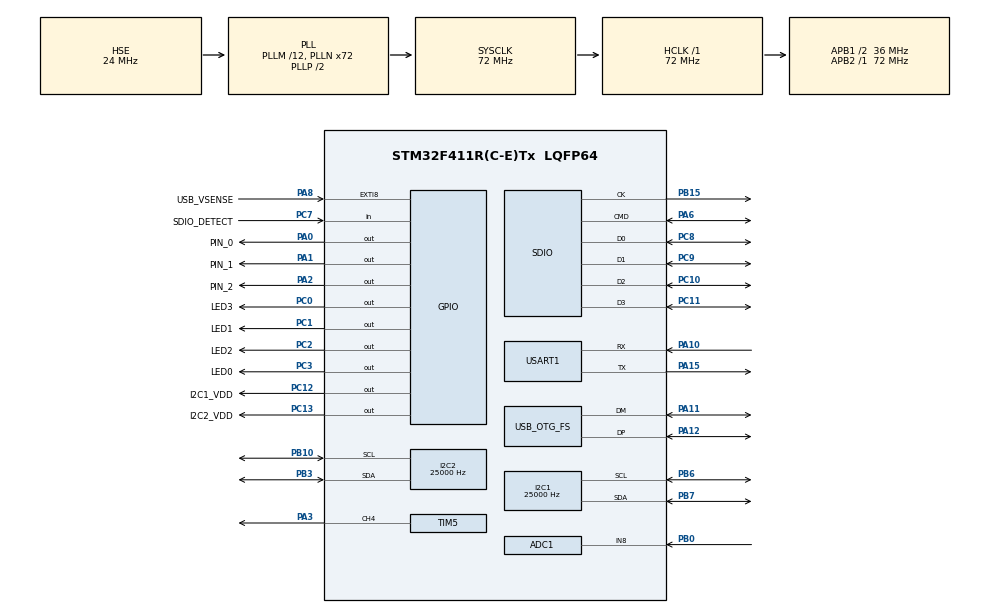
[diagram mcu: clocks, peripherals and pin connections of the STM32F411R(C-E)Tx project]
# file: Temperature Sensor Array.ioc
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ADC1.Channel-2\#ChannelRegularConversion=ADC_CHANNEL_8
ADC1.NbrOfConversionFlag=1
ADC1.Rank-2\#ChannelRegularConversion=1
ADC1.SamplingTime-2\#ChannelRegularConversion=ADC_SAMPLETIME_3CYCLES
ADC1.master=1
Dma.I2C1_TX.0.Direction=DMA_MEMORY_TO_PERIPH
Dma.I2C1_TX.0.FIFOMode=DMA_FIFOMODE_DISABLE
Dma.I2C1_TX.0.Instance=DMA1_Stream1
Dma.I2C1_TX.0.MemDataAlignment=DMA_MDATAALIGN_BYTE
Dma.I2C1_TX.0.MemInc=DMA_MINC_ENABLE
Dma.I2C1_TX.0.Mode=DMA_NORMAL
Dma.I2C1_TX.0.PeriphDataAlignment=DMA_PDATAALIGN_BYTE
Dma.I2C1_TX.0.PeriphInc=DMA_PINC_DISABLE
Dma.I2C1_TX.0.Priority=DMA_PRIORITY_MEDIUM
Dma.Request0=I2C1_TX
Dma.Request1=SDIO_RX
Dma.Request2=SDIO_TX
Dma.SDIO_RX.1.Direction=DMA_PERIPH_TO_MEMORY
Dma.SDIO_RX.1.FIFOMode=DMA_FIFOMODE_ENABLE
Dma.SDIO_RX.1.FIFOThreshold=DMA_FIFO_THRESHOLD_FULL
Dma.SDIO_RX.1.Instance=DMA2_Stream3
Dma.SDIO_RX.1.MemBurst=DMA_MBURST_INC4
Dma.SDIO_RX.1.MemDataAlignment=DMA_MDATAALIGN_WORD
Dma.SDIO_RX.1.MemInc=DMA_MINC_ENABLE
Dma.SDIO_RX.1.Mode=DMA_PFCTRL
Dma.SDIO_RX.1.PeriphBurst=DMA_PBURST_INC4
Dma.SDIO_RX.1.PeriphDataAlignment=DMA_PDATAALIGN_WORD
Dma.SDIO_RX.1.PeriphInc=DMA_PINC_DISABLE
Dma.SDIO_RX.1.Priority=DMA_PRIORITY_LOW
Dma.SDIO_TX.2.Direction=DMA_MEMORY_TO_PERIPH
Dma.SDIO_TX.2.FIFOMode=DMA_FIFOMODE_ENABLE
Dma.SDIO_TX.2.FIFOThreshold=DMA_FIFO_THRESHOLD_FULL
Dma.SDIO_TX.2.Instance=DMA2_Stream6
Dma.SDIO_TX.2.MemBurst=DMA_MBURST_INC4
Dma.SDIO_TX.2.MemDataAlignment=DMA_MDATAALIGN_WORD
Dma.SDIO_TX.2.MemInc=DMA_MINC_ENABLE
Dma.SDIO_TX.2.Mode=DMA_PFCTRL
Dma.SDIO_TX.2.PeriphBurst=DMA_PBURST_INC4
Dma.SDIO_TX.2.PeriphDataAlignment=DMA_PDATAALIGN_WORD
Dma.SDIO_TX.2.PeriphInc=DMA_PINC_DISABLE
Dma.SDIO_TX.2.Priority=DMA_PRIORITY_LOW
FATFS.BSP.number=1
FATFS.USE_DMA_CODE_SD=1
FATFS0.BSP.STBoard=false
FATFS0.BSP.api=Unknown
FATFS0.BSP.i2caddr=0
FATFS0.BSP.instance=PC7
FATFS0.BSP.ip=GPIO
FATFS0.BSP.mode=Input
FATFS0.BSP.name=Detect_SDIO
FATFS0.BSP.solution=PC7
I2C1.ClockSpeed=25000
I2C2.ClockSpeed=25000
Mcu.Family=STM32F4
Mcu.Name=STM32F411R(C-E)Tx
Mcu.Package=LQFP64
NVIC.ADC_IRQn=true\:0\:0\:false\:false\:true\:true\:true
NVIC.DMA1_Stream1_IRQn=true\:0\:0\:false\:false\:true\:false\:true
NVIC.DMA2_Stream3_IRQn=true\:0\:0\:false\:false\:true\:false\:true
NVIC.DMA2_Stream6_IRQn=true\:0\:0\:false\:false\:true\:false\:true
NVIC.EXTI9_5_IRQn=true\:0\:0\:false\:false\:true\:true\:true
NVIC.I2C1_ER_IRQn=true\:0\:0\:false\:false\:true\:true\:true
NVIC.I2C1_EV_IRQn=true\:0\:0\:false\:false\:true\:true\:true
NVIC.I2C2_ER_IRQn=true\:0\:0\:false\:false\:true\:true\:true
NVIC.I2C2_EV_IRQn=true\:0\:0\:false\:false\:true\:true\:true
NVIC.OTG_FS_IRQn=true\:0\:0\:false\:false\:true\:false\:true
NVIC.PriorityGroup=NVIC_PRIORITYGROUP_4
NVIC.SDIO_IRQn=true\:0\:0\:false\:false\:true\:true\:true
NVIC.TIM2_IRQn=true\:0\:0\:false\:false\:true\:true\:true
NVIC.TIM5_IRQn=true\:0\:0\:false\:false\:true\:true\:true
PA0-WKUP.GPIO_Label=PIN_0
PA0-WKUP.Signal=GPIO_Output
PA1.GPIO_Label=PIN_1
PA1.Signal=GPIO_Output
PA10.Mode=Asynchronous
PA10.Signal=USART1_RX
PA11.Mode=Device_Only
PA11.Signal=USB_OTG_FS_DM
PA12.Mode=Device_Only
PA12.Signal=USB_OTG_FS_DP
PA13.Mode=Serial_Wire
PA13.Signal=SYS_JTMS-SWDIO
PA14.Mode=Serial_Wire
PA14.Signal=SYS_JTCK-SWCLK
PA15.Mode=Asynchronous
PA15.Signal=USART1_TX
PA2.GPIO_Label=PIN_2
PA2.Signal=GPIO_Output
PA3.Signal=S_TIM5_CH4
PA6.Mode=SD_4_bits_Wide_bus
PA6.Signal=SDIO_CMD
PA8.GPIO_Label=USB_VSENSE
PA8.GPIO_ModeDefaultEXTI=GPIO_MODE_IT_RISING_FALLING
PA8.Signal=GPXTI8
PB0.Signal=ADCx_IN8
PB10.GPIO_Pu=GPIO_PULLUP
PB10.Mode=I2C
PB10.Signal=I2C2_SCL
PB15.Mode=SD_4_bits_Wide_bus
PB15.Signal=SDIO_CK
PB3.GPIO_Pu=GPIO_PULLUP
PB3.Mode=I2C
PB3.Signal=I2C2_SDA
PB6.GPIO_Pu=GPIO_PULLUP
PB6.Mode=I2C
PB6.Signal=I2C1_SCL
PB7.GPIO_Pu=GPIO_PULLUP
PB7.Mode=I2C
PB7.Signal=I2C1_SDA
PC0.GPIO_Label=LED3
PC0.Signal=GPIO_Output
PC1.GPIO_Label=LED1
PC1.Signal=GPIO_Output
PC10.Mode=SD_4_bits_Wide_bus
PC10.Signal=SDIO_D2
PC11.Mode=SD_4_bits_Wide_bus
PC11.Signal=SDIO_D3
PC12.GPIO_Label=I2C1_VDD
PC12.Signal=GPIO_Output
PC13-ANTI_TAMP.GPIO_Label=I2C2_VDD
PC13-ANTI_TAMP.Signal=GPIO_Output
PC14-OSC32_IN.Mode=LSE-External-Oscillator
PC14-OSC32_IN.Signal=RCC_OSC32_IN
PC15-OSC32_OUT.Mode=LSE-External-Oscillator
PC15-OSC32_OUT.Signal=RCC_OSC32_OUT
PC2.GPIO_Label=LED2
PC2.Signal=GPIO_Output
PC3.GPIO_Label=LED0
PC3.Signal=GPIO_Output
PC7.GPIO_Label=SDIO_DETECT
PC7.Signal=GPIO_Input
PC8.Mode=SD_4_bits_Wide_bus
PC8.Signal=SDIO_D0
PC9.Mode=SD_4_bits_Wide_bus
PC9.Signal=SDIO_D1
PH0\ -\ OSC_IN.Mode=HSE-External-Oscillator
PH0\ -\ OSC_IN.Signal=RCC_OSC_IN
PH1\ -\ OSC_OUT.Mode=HSE-External-Oscillator
PH1\ -\ OSC_OUT.Signal=RCC_OSC_OUT
ProjectManager.HeapSize=0x1000
ProjectManager.StackSize=0x800
ProjectManager.TargetToolchain=STM32CubeIDE
RCC.48MHZClocksFreq_Value=48000000
RCC.AHBFreq_Value=72000000
RCC.APB1CLKDivider=RCC_HCLK_DIV2
RCC.APB1Freq_Value=36000000
RCC.APB1TimFreq_Value=72000000
RCC.APB2Freq_Value=72000000
RCC.APB2TimFreq_Value=72000000
RCC.CortexFreq_Value=72000000
RCC.EnbaleCSS=true
RCC.HCLKFreq_Value=72000000
RCC.HSE_VALUE=24000000
RCC.HSI_VALUE=16000000
RCC.LSE_Timout=8000
RCC.PLLM=12
RCC.PLLN=72
RCC.PLLQ=3
RCC.RCC_RTC_Clock_SourceVirtual=RCC_RTCCLKSOURCE_LSE
RCC.SYSCLKFreq_VALUE=72000000
RCC.SYSCLKSource=RCC_SYSCLKSOURCE_PLLCLK
RCC.VCOOutputFreq_Value=144000000
RTC.Date=4
RTC.Format=RTC_FORMAT_BIN
RTC.Hours=16
RTC.Minutes=37
RTC.Month=RTC_MONTH_JANUARY
RTC.WeekDay=RTC_WEEKDAY_TUESDAY
RTC.Year=22
SDIO.ClockDiv=4
SH.ADCx_IN8.0=ADC1_IN8,IN8
SH.S_TIM5_CH4.0=TIM5_CH4,PWM Generation4 CH4
TIM2.AutoReloadPreload=TIM_AUTORELOAD_PRELOAD_ENABLE
TIM2.Channel-Output\ Compare1\ No\ Output=TIM_CHANNEL_1
TIM2.Period=250000
TIM2.Prescaler=72
TIM5.AutoReloadPreload=TIM_AUTORELOAD_PRELOAD_ENABLE
TIM5.Channel-PWM\ Generation4\ CH4=TIM_CHANNEL_4
TIM5.Period=50
TIM5.Prescaler=7200
USART1.VirtualMode=VM_ASYNC
USB_DEVICE.CLASS_NAME_FS=CDC
USB_DEVICE.VirtualMode=Cdc
USB_DEVICE.VirtualModeFS=Cdc_FS
USB_OTG_FS.VirtualMode=Device_Only
VP_FATFS_VS_SDIO.Mode=SDIO
VP_RTC_VS_RTC_Activate.Mode=RTC_Enabled
VP_RTC_VS_RTC_Calendar.Mode=RTC_Calendar
VP_TIM2_VS_ClockSourceINT.Mode=Internal
VP_TIM2_VS_no_output1.Mode=Output Compare1 No Output
VP_USB_DEVICE_VS_USB_DEVICE_CDC_FS.Mode=CDC_FS
board=custom

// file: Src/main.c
/* USER CODE BEGIN Header */
/**
  ******************************************************************************
  * @file           : main.c
  * @brief          : Main program body
  ******************************************************************************
  * @attention
  *
  * <h2><center>&copy; Copyright (c) 2021 STMicroelectronics.
  * All rights reserved.</center></h2>
  *
  * This software component is licensed by ST under Ultimate Liberty license
  * SLA0044, the "License"; You may not use this file except in compliance with
  * the License. You may obtain a copy of the License at:
  *                             www.st.com/SLA0044
  *
  ******************************************************************************
  */
/* USER CODE END Header */
#include "main.h"
#include "fatfs.h"
#include "usb_device.h"

/* USER CODE BEGIN Includes */

#include "Application/Application.h"
#include "Application/HandlesAssigner.h"
#include "Communication/USBTransmitter.h"

#include "../Drivers/Sensors/TemperatureSensor_ArrayData.h"
#include "../Drivers/Sensors/TemperatureSensor_MCP9808.h"

#include "../Drivers/BSP/BSP.h"

/* USER CODE END Includes */

ADC_HandleTypeDef hadc1;

I2C_HandleTypeDef hi2c1;
I2C_HandleTypeDef hi2c2;
DMA_HandleTypeDef hdma_i2c1_tx;

RTC_HandleTypeDef hrtc;

SD_HandleTypeDef hsd;
DMA_HandleTypeDef hdma_sdio_rx;
DMA_HandleTypeDef hdma_sdio_tx;

TIM_HandleTypeDef htim2;
TIM_HandleTypeDef htim5;

UART_HandleTypeDef huart1;

void SystemClock_Config(void);
static void MX_GPIO_Init(void);
static void MX_DMA_Init(void);
static void MX_RTC_Init(void);
static void MX_SDIO_SD_Init(void);
static void MX_I2C1_Init(void);
static void MX_I2C2_Init(void);
static void MX_USART1_UART_Init(void);
static void MX_TIM2_Init(void);
static void MX_ADC1_Init(void);
static void MX_TIM5_Init(void);
/* USER CODE BEGIN PFP */

static void AssignHandles();

/* USER CODE END PFP */

int main(void)
{

  /* MCU Configuration--------------------------------------------------------*/

  /* Reset of all peripherals, Initializes the Flash interface and the Systick. */
  HAL_Init();

  /* Configure the system clock */
  SystemClock_Config();

  /* Initialize all configured peripherals */
  MX_GPIO_Init();
  MX_DMA_Init();
  MX_RTC_Init();
  MX_SDIO_SD_Init();
  MX_I2C1_Init();
  MX_I2C2_Init();
  MX_USART1_UART_Init();
  MX_USB_DEVICE_Init();
  MX_TIM2_Init();
  MX_ADC1_Init();
  MX_FATFS_Init();
  MX_TIM5_Init();
  /* USER CODE BEGIN 2 */
  HAL_GPIO_WritePin(LED0_GPIO_Port, LED0_Pin, SET);
  /* USER CODE END 2 */

  /* Infinite loop */
  /* USER CODE BEGIN WHILE */
  HAL_GPIO_WritePin(I2C2_VDD_GPIO_Port, I2C2_VDD_Pin, SET);
  HAL_GPIO_WritePin(I2C1_VDD_GPIO_Port, I2C1_VDD_Pin, SET);

  AssignHandles();

  while (1)
  {
	  ApplicationPerform();
    /* USER CODE END WHILE */

  }
}

void SystemClock_Config(void)
{
  RCC_OscInitTypeDef RCC_OscInitStruct = {0};
  RCC_ClkInitTypeDef RCC_ClkInitStruct = {0};

  /** Configure the main internal regulator output voltage
  */
  __HAL_RCC_PWR_CLK_ENABLE();
  __HAL_PWR_VOLTAGESCALING_CONFIG(PWR_REGULATOR_VOLTAGE_SCALE1);
  /** Initializes the RCC Oscillators according to the specified parameters
  * in the RCC_OscInitTypeDef structure.
  */
  RCC_OscInitStruct.OscillatorType = RCC_OSCILLATORTYPE_HSE|RCC_OSCILLATORTYPE_LSE;
  RCC_OscInitStruct.HSEState = RCC_HSE_ON;
  RCC_OscInitStruct.LSEState = RCC_LSE_ON;
  RCC_OscInitStruct.PLL.PLLState = RCC_PLL_ON;
  RCC_OscInitStruct.PLL.PLLSource = RCC_PLLSOURCE_HSE;
  RCC_OscInitStruct.PLL.PLLM = 12;
  RCC_OscInitStruct.PLL.PLLN = 72;
  RCC_OscInitStruct.PLL.PLLP = RCC_PLLP_DIV2;
  RCC_OscInitStruct.PLL.PLLQ = 3;
  if (HAL_RCC_OscConfig(&RCC_OscInitStruct) != HAL_OK)
  {
    Error_Handler();
  }
  /** Initializes the CPU, AHB and APB buses clocks
  */
  RCC_ClkInitStruct.ClockType = RCC_CLOCKTYPE_HCLK|RCC_CLOCKTYPE_SYSCLK
                              |RCC_CLOCKTYPE_PCLK1|RCC_CLOCKTYPE_PCLK2;
  RCC_ClkInitStruct.SYSCLKSource = RCC_SYSCLKSOURCE_PLLCLK;
  RCC_ClkInitStruct.AHBCLKDivider = RCC_SYSCLK_DIV1;
  RCC_ClkInitStruct.APB1CLKDivider = RCC_HCLK_DIV2;
  RCC_ClkInitStruct.APB2CLKDivider = RCC_HCLK_DIV1;

  if (HAL_RCC_ClockConfig(&RCC_ClkInitStruct, FLASH_LATENCY_2) != HAL_OK)
  {
    Error_Handler();
  }
  /** Enables the Clock Security System
  */
  HAL_RCC_EnableCSS();
}

static void MX_ADC1_Init(void)
{

  ADC_ChannelConfTypeDef sConfig = {0};

  /** Configure the global features of the ADC (Clock, Resolution, Data Alignment and number of conversion)
  */
  hadc1.Instance = ADC1;
  hadc1.Init.ClockPrescaler = ADC_CLOCK_SYNC_PCLK_DIV2;
  hadc1.Init.Resolution = ADC_RESOLUTION_12B;
  hadc1.Init.ScanConvMode = DISABLE;
  hadc1.Init.ContinuousConvMode = DISABLE;
  hadc1.Init.DiscontinuousConvMode = DISABLE;
  hadc1.Init.ExternalTrigConvEdge = ADC_EXTERNALTRIGCONVEDGE_NONE;
  hadc1.Init.ExternalTrigConv = ADC_SOFTWARE_START;
  hadc1.Init.DataAlign = ADC_DATAALIGN_RIGHT;
  hadc1.Init.NbrOfConversion = 1;
  hadc1.Init.DMAContinuousRequests = DISABLE;
  hadc1.Init.EOCSelection = ADC_EOC_SINGLE_CONV;
  if (HAL_ADC_Init(&hadc1) != HAL_OK)
  {
    Error_Handler();
  }
  /** Configure for the selected ADC regular channel its corresponding rank in the sequencer and its sample time.
  */
  sConfig.Channel = ADC_CHANNEL_8;
  sConfig.Rank = 1;
  sConfig.SamplingTime = ADC_SAMPLETIME_3CYCLES;
  if (HAL_ADC_ConfigChannel(&hadc1, &sConfig) != HAL_OK)
  {
    Error_Handler();
  }

}

static void MX_I2C1_Init(void)
{

  hi2c1.Instance = I2C1;
  hi2c1.Init.ClockSpeed = 25000;
  hi2c1.Init.DutyCycle = I2C_DUTYCYCLE_2;
  hi2c1.Init.OwnAddress1 = 0;
  hi2c1.Init.AddressingMode = I2C_ADDRESSINGMODE_7BIT;
  hi2c1.Init.DualAddressMode = I2C_DUALADDRESS_DISABLE;
  hi2c1.Init.OwnAddress2 = 0;
  hi2c1.Init.GeneralCallMode = I2C_GENERALCALL_DISABLE;
  hi2c1.Init.NoStretchMode = I2C_NOSTRETCH_DISABLE;
  if (HAL_I2C_Init(&hi2c1) != HAL_OK)
  {
    Error_Handler();
  }

}

static void MX_I2C2_Init(void)
{

  hi2c2.Instance = I2C2;
  hi2c2.Init.ClockSpeed = 25000;
  hi2c2.Init.DutyCycle = I2C_DUTYCYCLE_2;
  hi2c2.Init.OwnAddress1 = 0;
  hi2c2.Init.AddressingMode = I2C_ADDRESSINGMODE_7BIT;
  hi2c2.Init.DualAddressMode = I2C_DUALADDRESS_DISABLE;
  hi2c2.Init.OwnAddress2 = 0;
  hi2c2.Init.GeneralCallMode = I2C_GENERALCALL_DISABLE;
  hi2c2.Init.NoStretchMode = I2C_NOSTRETCH_DISABLE;
  if (HAL_I2C_Init(&hi2c2) != HAL_OK)
  {
    Error_Handler();
  }

}

static void MX_RTC_Init(void)
{

  RTC_TimeTypeDef sTime = {0};
  RTC_DateTypeDef sDate = {0};

  /** Initialize RTC Only
  */
  hrtc.Instance = RTC;
  hrtc.Init.HourFormat = RTC_HOURFORMAT_24;
  hrtc.Init.AsynchPrediv = 127;
  hrtc.Init.SynchPrediv = 255;
  hrtc.Init.OutPut = RTC_OUTPUT_DISABLE;
  hrtc.Init.OutPutPolarity = RTC_OUTPUT_POLARITY_HIGH;
  hrtc.Init.OutPutType = RTC_OUTPUT_TYPE_OPENDRAIN;
  if (HAL_RTC_Init(&hrtc) != HAL_OK)
  {
    Error_Handler();
  }

  /** Initialize RTC and set the Time and Date
  */
  sTime.Hours = 19;
  sTime.Minutes = 47;
  sTime.Seconds = 0;
  sTime.DayLightSaving = RTC_DAYLIGHTSAVING_NONE;
  sTime.StoreOperation = RTC_STOREOPERATION_RESET;
//  if (HAL_RTC_SetTime(&hrtc, &sTime, RTC_FORMAT_BIN) != HAL_OK)
//  {
//    Error_Handler();
//  }
  sDate.WeekDay = RTC_WEEKDAY_TUESDAY;
  sDate.Month = RTC_MONTH_JANUARY;
  sDate.Date = 4;
  sDate.Year = 22;

//  if (HAL_RTC_SetDate(&hrtc, &sDate, RTC_FORMAT_BIN) != HAL_OK)
//  {
//    Error_Handler();
//  }

}

static void MX_SDIO_SD_Init(void)
{

  hsd.Instance = SDIO;
  hsd.Init.ClockEdge = SDIO_CLOCK_EDGE_RISING;
  hsd.Init.ClockBypass = SDIO_CLOCK_BYPASS_DISABLE;
  hsd.Init.ClockPowerSave = SDIO_CLOCK_POWER_SAVE_DISABLE;
  hsd.Init.BusWide = SDIO_BUS_WIDE_1B;
  hsd.Init.HardwareFlowControl = SDIO_HARDWARE_FLOW_CONTROL_DISABLE;
  hsd.Init.ClockDiv = 4;

}

static void MX_TIM2_Init(void)
{

  TIM_ClockConfigTypeDef sClockSourceConfig = {0};
  TIM_MasterConfigTypeDef sMasterConfig = {0};
  TIM_OC_InitTypeDef sConfigOC = {0};

  htim2.Instance = TIM2;
  htim2.Init.Prescaler = 72;
  htim2.Init.CounterMode = TIM_COUNTERMODE_UP;
  htim2.Init.Period = 250000;
  htim2.Init.ClockDivision = TIM_CLOCKDIVISION_DIV1;
  htim2.Init.AutoReloadPreload = TIM_AUTORELOAD_PRELOAD_ENABLE;
  if (HAL_TIM_Base_Init(&htim2) != HAL_OK)
  {
    Error_Handler();
  }
  sClockSourceConfig.ClockSource = TIM_CLOCKSOURCE_INTERNAL;
  if (HAL_TIM_ConfigClockSource(&htim2, &sClockSourceConfig) != HAL_OK)
  {
    Error_Handler();
  }
  if (HAL_TIM_OC_Init(&htim2) != HAL_OK)
  {
    Error_Handler();
  }
  sMasterConfig.MasterOutputTrigger = TIM_TRGO_RESET;
  sMasterConfig.MasterSlaveMode = TIM_MASTERSLAVEMODE_DISABLE;
  if (HAL_TIMEx_MasterConfigSynchronization(&htim2, &sMasterConfig) != HAL_OK)
  {
    Error_Handler();
  }
  sConfigOC.OCMode = TIM_OCMODE_TIMING;
  sConfigOC.Pulse = 0;
  sConfigOC.OCPolarity = TIM_OCPOLARITY_HIGH;
  sConfigOC.OCFastMode = TIM_OCFAST_DISABLE;
  if (HAL_TIM_OC_ConfigChannel(&htim2, &sConfigOC, TIM_CHANNEL_1) != HAL_OK)
  {
    Error_Handler();
  }

}

static void MX_TIM5_Init(void)
{

  TIM_MasterConfigTypeDef sMasterConfig = {0};
  TIM_OC_InitTypeDef sConfigOC = {0};

  htim5.Instance = TIM5;
  htim5.Init.Prescaler = 7200;
  htim5.Init.CounterMode = TIM_COUNTERMODE_UP;
  htim5.Init.Period = 50;
  htim5.Init.ClockDivision = TIM_CLOCKDIVISION_DIV1;
  htim5.Init.AutoReloadPreload = TIM_AUTORELOAD_PRELOAD_ENABLE;
  if (HAL_TIM_PWM_Init(&htim5) != HAL_OK)
  {
    Error_Handler();
  }
  sMasterConfig.MasterOutputTrigger = TIM_TRGO_RESET;
  sMasterConfig.MasterSlaveMode = TIM_MASTERSLAVEMODE_DISABLE;
  if (HAL_TIMEx_MasterConfigSynchronization(&htim5, &sMasterConfig) != HAL_OK)
  {
    Error_Handler();
  }
  sConfigOC.OCMode = TIM_OCMODE_PWM1;
  sConfigOC.Pulse = 0;
  sConfigOC.OCPolarity = TIM_OCPOLARITY_HIGH;
  sConfigOC.OCFastMode = TIM_OCFAST_DISABLE;
  if (HAL_TIM_PWM_ConfigChannel(&htim5, &sConfigOC, TIM_CHANNEL_4) != HAL_OK)
  {
    Error_Handler();
  }
  HAL_TIM_MspPostInit(&htim5);

}

static void MX_USART1_UART_Init(void)
{

  huart1.Instance = USART1;
  huart1.Init.BaudRate = 115200;
  huart1.Init.WordLength = UART_WORDLENGTH_8B;
  huart1.Init.StopBits = UART_STOPBITS_1;
  huart1.Init.Parity = UART_PARITY_NONE;
  huart1.Init.Mode = UART_MODE_TX_RX;
  huart1.Init.HwFlowCtl = UART_HWCONTROL_NONE;
  huart1.Init.OverSampling = UART_OVERSAMPLING_16;
  if (HAL_UART_Init(&huart1) != HAL_OK)
  {
    Error_Handler();
  }

}

static void MX_DMA_Init(void)
{

  /* DMA controller clock enable */
  __HAL_RCC_DMA1_CLK_ENABLE();
  __HAL_RCC_DMA2_CLK_ENABLE();

  /* DMA interrupt init */
  /* DMA1_Stream1_IRQn interrupt configuration */
  HAL_NVIC_SetPriority(DMA1_Stream1_IRQn, 0, 0);
  HAL_NVIC_EnableIRQ(DMA1_Stream1_IRQn);
  /* DMA2_Stream3_IRQn interrupt configuration */
  HAL_NVIC_SetPriority(DMA2_Stream3_IRQn, 0, 0);
  HAL_NVIC_EnableIRQ(DMA2_Stream3_IRQn);
  /* DMA2_Stream6_IRQn interrupt configuration */
  HAL_NVIC_SetPriority(DMA2_Stream6_IRQn, 0, 0);
  HAL_NVIC_EnableIRQ(DMA2_Stream6_IRQn);

}

static void MX_GPIO_Init(void)
{
  GPIO_InitTypeDef GPIO_InitStruct = {0};

  /* GPIO Ports Clock Enable */
  __HAL_RCC_GPIOC_CLK_ENABLE();
  __HAL_RCC_GPIOH_CLK_ENABLE();
  __HAL_RCC_GPIOA_CLK_ENABLE();
  __HAL_RCC_GPIOB_CLK_ENABLE();

  /*Configure GPIO pin Output Level */
  HAL_GPIO_WritePin(GPIOC, I2C2_VDD_Pin|LED3_Pin|LED1_Pin|LED2_Pin
                          |LED0_Pin|I2C1_VDD_Pin, GPIO_PIN_RESET);

  /*Configure GPIO pin Output Level */
  HAL_GPIO_WritePin(GPIOA, PIN_0_Pin|PIN_1_Pin|PIN_2_Pin, GPIO_PIN_RESET);

  /*Configure GPIO pins : I2C2_VDD_Pin LED3_Pin LED1_Pin LED2_Pin
                           LED0_Pin I2C1_VDD_Pin */
  GPIO_InitStruct.Pin = I2C2_VDD_Pin|LED3_Pin|LED1_Pin|LED2_Pin
                          |LED0_Pin|I2C1_VDD_Pin;
  GPIO_InitStruct.Mode = GPIO_MODE_OUTPUT_PP;
  GPIO_InitStruct.Pull = GPIO_NOPULL;
  GPIO_InitStruct.Speed = GPIO_SPEED_FREQ_LOW;
  HAL_GPIO_Init(GPIOC, &GPIO_InitStruct);

  /*Configure GPIO pins : PIN_0_Pin PIN_1_Pin PIN_2_Pin */
  GPIO_InitStruct.Pin = PIN_0_Pin|PIN_1_Pin|PIN_2_Pin;
  GPIO_InitStruct.Mode = GPIO_MODE_OUTPUT_PP;
  GPIO_InitStruct.Pull = GPIO_NOPULL;
  GPIO_InitStruct.Speed = GPIO_SPEED_FREQ_LOW;
  HAL_GPIO_Init(GPIOA, &GPIO_InitStruct);

  /*Configure GPIO pin : SDIO_DETECT_Pin */
  GPIO_InitStruct.Pin = SDIO_DETECT_Pin;
  GPIO_InitStruct.Mode = GPIO_MODE_INPUT;
  GPIO_InitStruct.Pull = GPIO_NOPULL;
  HAL_GPIO_Init(SDIO_DETECT_GPIO_Port, &GPIO_InitStruct);

  /*Configure GPIO pin : USB_VSENSE_Pin */
  GPIO_InitStruct.Pin = USB_VSENSE_Pin;
  GPIO_InitStruct.Mode = GPIO_MODE_IT_RISING_FALLING;
  GPIO_InitStruct.Pull = GPIO_NOPULL;
  HAL_GPIO_Init(USB_VSENSE_GPIO_Port, &GPIO_InitStruct);

  /* EXTI interrupt init*/
  HAL_NVIC_SetPriority(EXTI9_5_IRQn, 0, 0);
  HAL_NVIC_EnableIRQ(EXTI9_5_IRQn);

}

/* USER CODE BEGIN 4 */

void AssignHandles()
{
	HandlesAssigner_ShareHandle(&hadc1, eHandle_ADC);
	HandlesAssigner_ShareHandle(&hi2c1, eHandle_I2C1);
	HandlesAssigner_ShareHandle(&hi2c2, eHandle_I2C2);
	HandlesAssigner_ShareHandle(&hrtc, eHandle_RTC);
	HandlesAssigner_ShareHandle(&hsd, eHandle_SD);
	HandlesAssigner_ShareHandle(&htim2, eHandle_TIM2);
	HandlesAssigner_ShareHandle(&huart1, eHandle_UART1);
	HandlesAssigner_ShareHandle(&htim5, eHandle_TIM5);
}

/* USER CODE END 4 */

void Error_Handler(void)
{
  __disable_irq();
  while (1)
  {
  }
}
